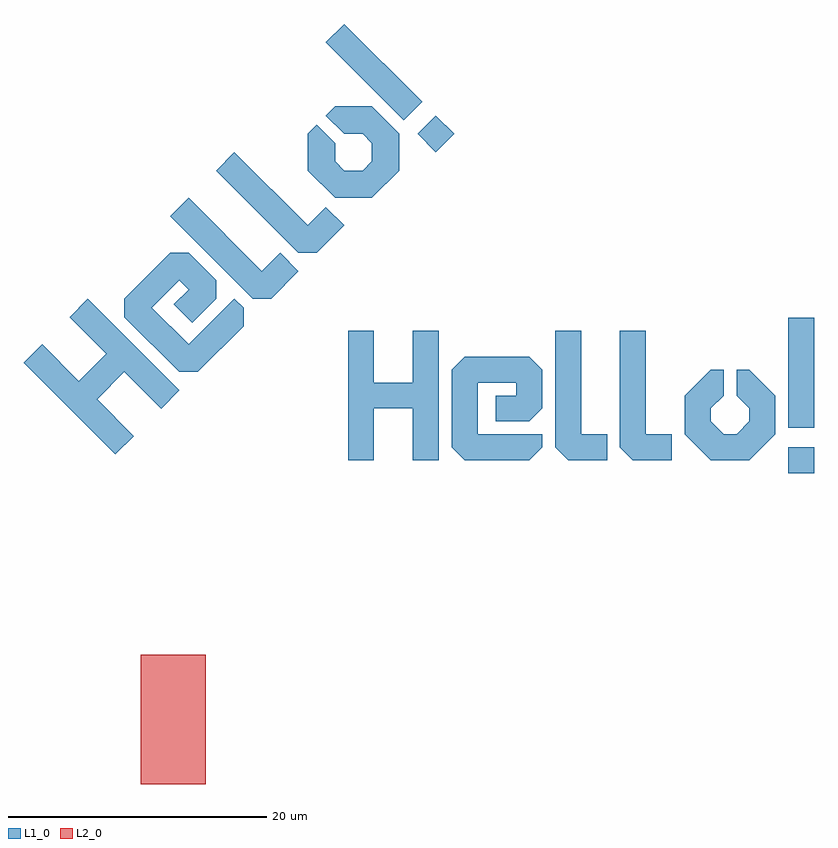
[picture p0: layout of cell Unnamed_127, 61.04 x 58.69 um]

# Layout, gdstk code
from math import pi, radians
import gdstk
lib = gdstk.Library(unit=1e-6, precision=1e-09)
def R(c, l, rs):  # rectangles x0, y0, x1, y1
    for r in rs: c.add(gdstk.rectangle(r[:2], r[2:], *l))
def P(c, l, *ps):  # polygons
    for p in ps: c.add(gdstk.Polygon(p, *l))
L1_0 = (1, 0)
L2_0 = (2, 0)

text_thello__s10_p0_0_jl = lib.new_cell('text_THello!_S10_P0_0_Jleft_LWG')
R(text_thello__s10_p0_0_jl, L1_0, [(35,-1,37,1), (35,2.5,37,11)])
P(text_thello__s10_p0_0_jl, L1_0, [(29,0),(27,2),(27,5),(29,7),(30,7),(30,5),(29,4),(29,3),(30,2),(31,2),(32,3),(32,4),(31,5),(31,7),(32,7),(34,5),(34,2),(32,0)],
  [(10,0),(9,1),(9,7),(10,8),(15,8),(16,7),(16,4),(15,3),(12.4,3),(12.4,5),(14,5),(14,6),(11,6),(11,2),(16,2),(16,1),(15,0)],
  [(1,0),(1,10),(3,10),(3,6),(6,6),(6,10),(8,10),(8,0),(6,0),(6,4),(3,4),(3,0)],
  [(18,0),(17,1),(17,10),(19,10),(19,2),(21,2),(21,0)],
  [(23,0),(22,1),(22,10),(24,10),(24,2),(26,2),(26,0)])

rectangle_s5_10_l2_0_cf_ = lib.new_cell('rectangle_S5_10_L2_0_CF_5b7c41dd')
R(rectangle_s5_10_l2_0_cf_, L2_0, [(0,0,5,10)])

unnamed_127 = lib.new_cell('Unnamed_127')
unnamed_127.add(gdstk.Reference(text_thello__s10_p0_0_jl, (0,25)))
unnamed_127.add(gdstk.Reference(text_thello__s10_p0_0_jl, (-17.678,24.749), rotation=radians(45)))
unnamed_127.add(gdstk.Reference(rectangle_s5_10_l2_0_cf_, (-15,0)))

lib.write_gds('Unnamed_127.gds')
